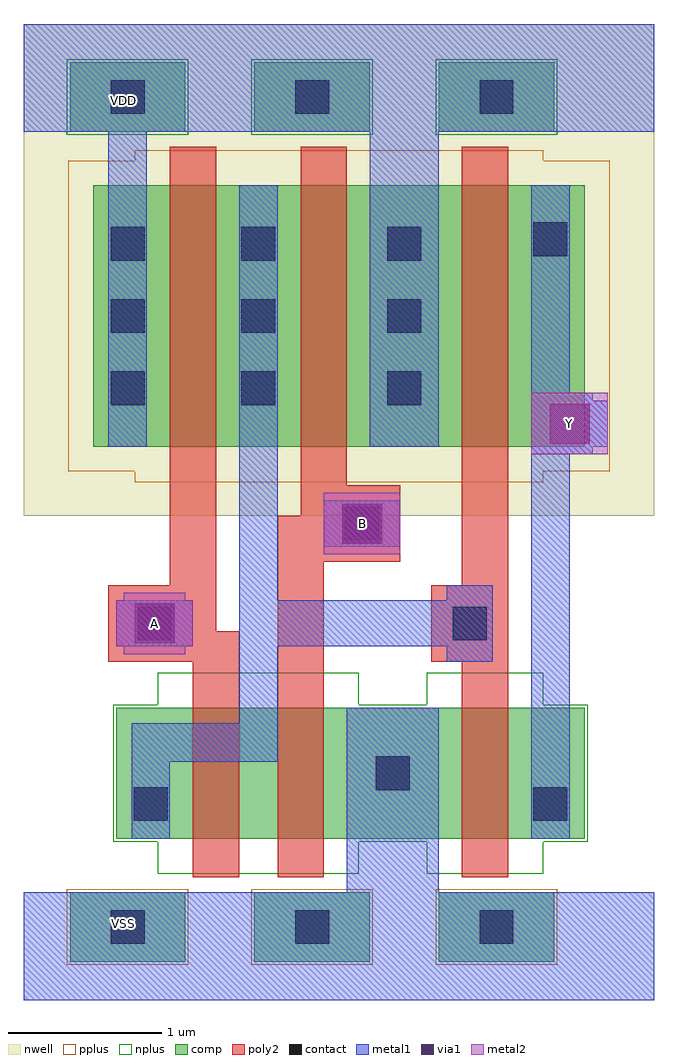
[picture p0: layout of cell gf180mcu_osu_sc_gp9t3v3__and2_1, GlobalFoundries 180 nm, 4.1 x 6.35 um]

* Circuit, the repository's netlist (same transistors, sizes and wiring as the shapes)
* Copyright 2022 Google LLC
*
* Licensed under the Apache License, Version 2.0 (the "License");
* you may not use this file except in compliance with the License.
* You may obtain a copy of the License at
*
*      http://www.apache.org/licenses/LICENSE-2.0
*
* Unless required by applicable law or agreed to in writing, software
* distributed under the License is distributed on an "AS IS" BASIS,
* WITHOUT WARRANTIES OR CONDITIONS OF ANY KIND, either express or implied.
* See the License for the specific language governing permissions and
* limitations under the License.

.option scale=0.05u

.subckt gf180mcu_osu_sc_gp9t3v3__and2_1 A B Y
X0 VDD B a_12_19 VDD pmos_3p3 w=34 l=6
X1 Y a_12_19 VSS VSS nmos_3p3 w=17 l=6
X2 Y a_12_19 VDD VDD pmos_3p3 w=34 l=6
X3 a_12_19 A VDD VDD pmos_3p3 w=34 l=6
X4 a_28_19 A a_12_19 VSS nmos_3p3 w=17 l=6
X5 VSS B a_28_19 VSS nmos_3p3 w=17 l=6
.ends

** hspice subcircuit dictionary

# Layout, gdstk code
import gdstk
lib = gdstk.Library(unit=1e-6, precision=1e-09)
def R(c, l, rs):  # rectangles x0, y0, x1, y1
    for r in rs: c.add(gdstk.rectangle(r[:2], r[2:], *l))
def A(c, l, x, y, w, h, nx, ny, dx, dy):  # array of equal rectangles
    R(c, l, [(x+i*dx, y+j*dy, x+i*dx+w, y+j*dy+h) for i in range(nx) for j in range(ny)])
nwell = (21, 0)
comp = (22, 0)
poly2 = (30, 0)
pplus = (31, 0)
nplus = (32, 0)
contact = (33, 0)
metal1 = (34, 0)
via1 = (35, 0)
metal2 = (36, 0)

gf180mcu_osu_sc_gp9t3v3_ = lib.new_cell('gf180mcu_osu_sc_gp9t3v3__and2_1')
R(gf180mcu_osu_sc_gp9t3v3_, nwell, [(0,3.15,4.1,6.35)])
A(gf180mcu_osu_sc_gp9t3v3_, comp, 0.3, 0.25, 0.75, 0.45, 3, 2, 1.2, 5.4)
R(gf180mcu_osu_sc_gp9t3v3_, comp, [(0.6,1.05,3.65,1.9), (0.45,3.6,3.65,5.3)])
R(gf180mcu_osu_sc_gp9t3v3_, poly2, [(1.1,0.8,1.4,2.2), (1.65,0.8,1.95,2.85), (2.85,0.8,3.15,2.2), (0.55,2.2,1.4,2.4), (2.65,2.2,3.15,2.7), (0.55,2.4,1.25,2.7), (0.95,2.7,1.25,5.55), (2.85,2.7,3.15,5.55), (1.65,2.85,2.45,3.15), (1.8,3.15,2.45,3.35), (1.8,3.35,2.1,5.55)])
A(gf180mcu_osu_sc_gp9t3v3_, pplus, 0.28, 0.23, 0.79, 0.49, 3, 1, 1.2, 0)
R(gf180mcu_osu_sc_gp9t3v3_, pplus, [(0.72,3.37,3.38,3.44), (0.29,3.44,3.81,5.46), (0.72,5.46,3.38,5.53)])
A(gf180mcu_osu_sc_gp9t3v3_, nplus, 0.28, 5.63, 0.79, 0.49, 3, 1, 1.2, 0)
R(gf180mcu_osu_sc_gp9t3v3_, nplus, [(0.87,0.82,2.18,1.03), (2.62,0.82,3.38,1.03), (0.58,1.03,3.67,1.92), (0.87,1.92,2.18,2.13), (2.62,1.92,3.38,2.13)])
A(gf180mcu_osu_sc_gp9t3v3_, contact, 0.565, 0.365, 0.22, 0.22, 3, 2, 1.2, 5.4)
A(gf180mcu_osu_sc_gp9t3v3_, contact, 0.565, 3.87, 0.22, 0.22, 1, 3, 0, 0.47)
A(gf180mcu_osu_sc_gp9t3v3_, contact, 1.415, 3.87, 0.22, 0.22, 1, 3, 0, 0.47)
A(gf180mcu_osu_sc_gp9t3v3_, contact, 2.365, 3.87, 0.22, 0.22, 1, 3, 0, 0.47)
R(gf180mcu_osu_sc_gp9t3v3_, contact, [(0.715,1.165,0.935,1.385), (3.315,1.165,3.535,1.385), (2.29,1.365,2.51,1.585), (0.74,2.34,0.96,2.56), (2.79,2.34,3.01,2.56), (2.09,2.99,2.31,3.21), (3.315,4.84,3.535,5.06)])
R(gf180mcu_osu_sc_gp9t3v3_, metal1, [(0,0,4.1,0.7), (2.1,0.7,2.7,1.9), (0.7,1.05,0.95,1.55), (3.3,1.05,3.55,3.55), (0.7,1.55,1.65,1.8), (1.4,1.8,1.65,2.3), (2.75,2.2,3.05,2.3), (0.6,2.3,1.1,2.6), (1.4,2.3,3.05,2.6), (1.4,2.6,1.65,5.3), (2.75,2.6,3.05,2.7), (1.95,2.95,2.45,3.25), (3.3,3.55,3.7,3.6), (0.55,3.6,0.8,5.65), (2.25,3.6,2.7,5.65), (3.3,3.6,3.8,3.9), (3.3,3.9,3.7,3.95), (3.3,3.95,3.55,5.3), (0,5.65,4.1,6.35)])
R(gf180mcu_osu_sc_gp9t3v3_, via1, [(0.72,2.32,0.98,2.58), (2.07,2.97,2.33,3.23), (3.42,3.62,3.68,3.88)])
R(gf180mcu_osu_sc_gp9t3v3_, metal2, [(0.65,2.25,1.05,2.3), (0.6,2.3,1.1,2.6), (0.65,2.6,1.05,2.65), (1.95,2.9,2.45,3.3), (3.3,3.55,3.8,3.95)])
gf180mcu_osu_sc_gp9t3v3_.add(gdstk.Label('A', (0.85,2.45), layer=36, texttype=10))
gf180mcu_osu_sc_gp9t3v3_.add(gdstk.Label('B', (2.2,3.1), layer=36, texttype=10))
gf180mcu_osu_sc_gp9t3v3_.add(gdstk.Label('Y', (3.55,3.75), layer=36, texttype=10))
gf180mcu_osu_sc_gp9t3v3_.add(gdstk.Label('VDD', (0.65,5.85), layer=34, texttype=10))
gf180mcu_osu_sc_gp9t3v3_.add(gdstk.Label('VSS', (0.65,0.5), layer=34, texttype=10))

lib.write_gds('gf180mcu_osu_sc_gp9t3v3__and2_1.gds')
